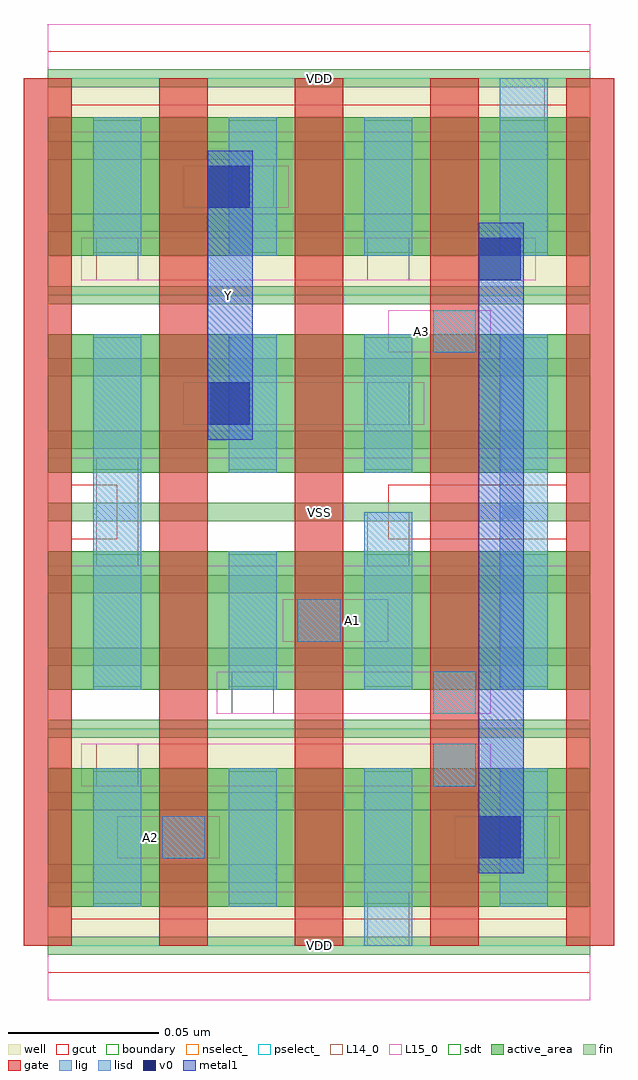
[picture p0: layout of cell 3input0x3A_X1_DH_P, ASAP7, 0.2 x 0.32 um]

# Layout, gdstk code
import gdstk
lib = gdstk.Library(unit=1e-6, precision=1e-09)
def R(c, l, rs):  # rectangles x0, y0, x1, y1
    for r in rs: c.add(gdstk.rectangle(r[:2], r[2:], *l))
def A(c, l, x, y, w, h, nx, ny, dx, dy):  # array of equal rectangles
    R(c, l, [(x+i*dx, y+j*dy, x+i*dx+w, y+j*dy+h) for i in range(nx) for j in range(ny)])
def P(c, l, *ps):  # polygons
    for p in ps: c.add(gdstk.Polygon(p, *l))
well = (1, 0)
fin = (2, 0)
gate = (7, 0)
gcut = (10, 0)
active_area = (11, 0)
nselect_ = (12, 0)
pselect_ = (13, 0)
L14_0 = (14, 0)
L15_0 = (15, 0)
lig = (16, 0)
lisd = (17, 0)
v0 = (18, 0)
metal1 = (19, 0)
sdt = (88, 0)
boundary = (100, 0)

c_3input0x3a_x1_dh_p = lib.new_cell('3input0x3A_X1_DH_P')
R(c_3input0x3a_x1_dh_p, well, [(0,0,0.18,0.072), (0,0.216,0.18,0.288)])
A(c_3input0x3a_x1_dh_p, fin, 0, -0.003, 0.18, 0.006, 1, 13, 0, 0.024)
A(c_3input0x3a_x1_dh_p, gate, -0.008, 0, 0.016, 0.288, 5, 1, 0.045, 0)
P(c_3input0x3a_x1_dh_p, gcut, [(0,-0.009),(0,0),(-0.008,0),(-0.008,0.279),(0.008,0.279),(0.008,0.153),(0.023,0.153),(0.023,0.135),(0.008,0.135),(0.008,0.009),(0.172,0.009),(0.172,0.135),(0.113,0.135),(0.113,0.153),(0.172,0.153),(0.172,0.279),(-0.008,0.279),(-0.008,0.288),(0,0.288),(0,0.297),(0.18,0.297),(0.18,0.288),(0.188,0.288),(0.188,0),(0.18,0),(0.18,-0.009)])
A(c_3input0x3a_x1_dh_p, active_area, 0, 0.013, 0.18, 0.046, 1, 4, 0, 0.072)
R(c_3input0x3a_x1_dh_p, nselect_, [(0,0.072,0.18,0.144), (0,0.144,0.18,0.216)])
R(c_3input0x3a_x1_dh_p, pselect_, [(0,0,0.18,0.072), (0,0.216,0.18,0.288)])
R(c_3input0x3a_x1_dh_p, L14_0, [(0.106,0,0.12,0.018), (0.038,0.029,0.052,0.043), (0.15,0.029,0.165,0.043), (0.016,0.053,0.03,0.067), (0.128,0.053,0.142,0.067), (0.061,0.077,0.075,0.091), (0.128,0.077,0.142,0.091), (0.083,0.101,0.097,0.115), (0.016,0.126,0.03,0.144), (0.106,0.126,0.12,0.144), (0.016,0.144,0.03,0.162), (0.106,0.173,0.12,0.187), (0.128,0.197,0.142,0.211), (0.016,0.221,0.03,0.235), (0.106,0.221,0.12,0.235), (0.061,0.245,0.075,0.259), (0.15,0.27,0.165,0.288)])
A(c_3input0x3a_x1_dh_p, L15_0, 0, -0.018, 0.18, 0.036, 1, 3, 0, 0.144)
R(c_3input0x3a_x1_dh_p, L15_0, [(0.023,0.029,0.057,0.043), (0.135,0.029,0.17,0.043), (0.011,0.053,0.147,0.067), (0.056,0.077,0.147,0.091), (0.078,0.101,0.113,0.115), (0.045,0.173,0.125,0.187), (0.113,0.197,0.147,0.211), (0.011,0.221,0.162,0.235), (0.045,0.245,0.08,0.259)])
R(c_3input0x3a_x1_dh_p, lig, [(0.038,0.029,0.052,0.043), (0.128,0.053,0.142,0.067), (0.128,0.077,0.142,0.091), (0.083,0.101,0.097,0.115), (0.128,0.197,0.142,0.211)])
A(c_3input0x3a_x1_dh_p, lisd, 0.06, 0.013, 0.016, 0.046, 1, 3, 0, 0.072)
A(c_3input0x3a_x1_dh_p, lisd, 0.015, 0.229, 0.016, 0.046, 3, 1, 0.045, 0)
R(c_3input0x3a_x1_dh_p, lisd, [(0.105,0,0.121,0.059), (0.015,0.013,0.031,0.059), (0.15,0.013,0.166,0.059), (0.015,0.085,0.031,0.203), (0.105,0.085,0.121,0.144), (0.15,0.085,0.166,0.203), (0.105,0.157,0.121,0.203), (0.15,0.229,0.166,0.288)])
R(c_3input0x3a_x1_dh_p, v0, [(0.143,0.029,0.157,0.043), (0.053,0.173,0.067,0.187), (0.143,0.221,0.157,0.235), (0.053,0.245,0.067,0.259)])
R(c_3input0x3a_x1_dh_p, metal1, [(0.143,0.024,0.158,0.24), (0.053,0.168,0.068,0.264)])
A(c_3input0x3a_x1_dh_p, sdt, 0.015, 0.014, 0.016, 0.044, 4, 4, 0.045, 0.072)
R(c_3input0x3a_x1_dh_p, boundary, [(0,0,0.18,0.288)])
c_3input0x3a_x1_dh_p.add(gdstk.Label('A2', (0.034,0.036), layer=15, texttype=251))
c_3input0x3a_x1_dh_p.add(gdstk.Label('VDD', (0.09,0), layer=15, texttype=251))
c_3input0x3a_x1_dh_p.add(gdstk.Label('VSS', (0.09,0.144), layer=15, texttype=251))
c_3input0x3a_x1_dh_p.add(gdstk.Label('VSS', (0.09,0.144), layer=15, texttype=251))
c_3input0x3a_x1_dh_p.add(gdstk.Label('VDD', (0.09,0.288), layer=15, texttype=251))
c_3input0x3a_x1_dh_p.add(gdstk.Label('VDD', (0.09,0), layer=15, texttype=251))
c_3input0x3a_x1_dh_p.add(gdstk.Label('VSS', (0.09,0.144), layer=15, texttype=251))
c_3input0x3a_x1_dh_p.add(gdstk.Label('VSS', (0.09,0.144), layer=15, texttype=251))
c_3input0x3a_x1_dh_p.add(gdstk.Label('VDD', (0.09,0.288), layer=15, texttype=251))
c_3input0x3a_x1_dh_p.add(gdstk.Label('A3', (0.124,0.204), layer=15, texttype=251))
c_3input0x3a_x1_dh_p.add(gdstk.Label('VDD', (0.09,0), layer=15, texttype=251))
c_3input0x3a_x1_dh_p.add(gdstk.Label('VSS', (0.09,0.144), layer=15, texttype=251))
c_3input0x3a_x1_dh_p.add(gdstk.Label('VSS', (0.09,0.144), layer=15, texttype=251))
c_3input0x3a_x1_dh_p.add(gdstk.Label('VDD', (0.09,0.288), layer=15, texttype=251))
c_3input0x3a_x1_dh_p.add(gdstk.Label('A1', (0.101,0.108), layer=15, texttype=251))
c_3input0x3a_x1_dh_p.add(gdstk.Label('VDD', (0.09,0), layer=15, texttype=251))
c_3input0x3a_x1_dh_p.add(gdstk.Label('VSS', (0.09,0.144), layer=15, texttype=251))
c_3input0x3a_x1_dh_p.add(gdstk.Label('VSS', (0.09,0.144), layer=15, texttype=251))
c_3input0x3a_x1_dh_p.add(gdstk.Label('VDD', (0.09,0.288), layer=15, texttype=251))
c_3input0x3a_x1_dh_p.add(gdstk.Label('VSS', (0.09,0.144), layer=3, texttype=251))
c_3input0x3a_x1_dh_p.add(gdstk.Label('VSS', (0.09,0.144), layer=3, texttype=251))
c_3input0x3a_x1_dh_p.add(gdstk.Label('VSS', (0.09,0.144), layer=3, texttype=251))
c_3input0x3a_x1_dh_p.add(gdstk.Label('VSS', (0.09,0.144), layer=3, texttype=251))
c_3input0x3a_x1_dh_p.add(gdstk.Label('VSS', (0.09,0.144), layer=3, texttype=251))
c_3input0x3a_x1_dh_p.add(gdstk.Label('VSS', (0.09,0.144), layer=3, texttype=251))
c_3input0x3a_x1_dh_p.add(gdstk.Label('VSS', (0.09,0.144), layer=3, texttype=251))
c_3input0x3a_x1_dh_p.add(gdstk.Label('VSS', (0.09,0.144), layer=3, texttype=251))
c_3input0x3a_x1_dh_p.add(gdstk.Label('VDD', (0.09,0), layer=1, texttype=251))
c_3input0x3a_x1_dh_p.add(gdstk.Label('VDD', (0.09,0.288), layer=1, texttype=251))
c_3input0x3a_x1_dh_p.add(gdstk.Label('VDD', (0.09,0), layer=1, texttype=251))
c_3input0x3a_x1_dh_p.add(gdstk.Label('VDD', (0.09,0.288), layer=1, texttype=251))
c_3input0x3a_x1_dh_p.add(gdstk.Label('VDD', (0.09,0), layer=1, texttype=251))
c_3input0x3a_x1_dh_p.add(gdstk.Label('VDD', (0.09,0.288), layer=1, texttype=251))
c_3input0x3a_x1_dh_p.add(gdstk.Label('VDD', (0.09,0), layer=1, texttype=251))
c_3input0x3a_x1_dh_p.add(gdstk.Label('VDD', (0.09,0.288), layer=1, texttype=251))
c_3input0x3a_x1_dh_p.add(gdstk.Label('Y', (0.06,0.216), layer=19, texttype=251))

lib.write_gds('3input0x3A_X1_DH_P.gds')
